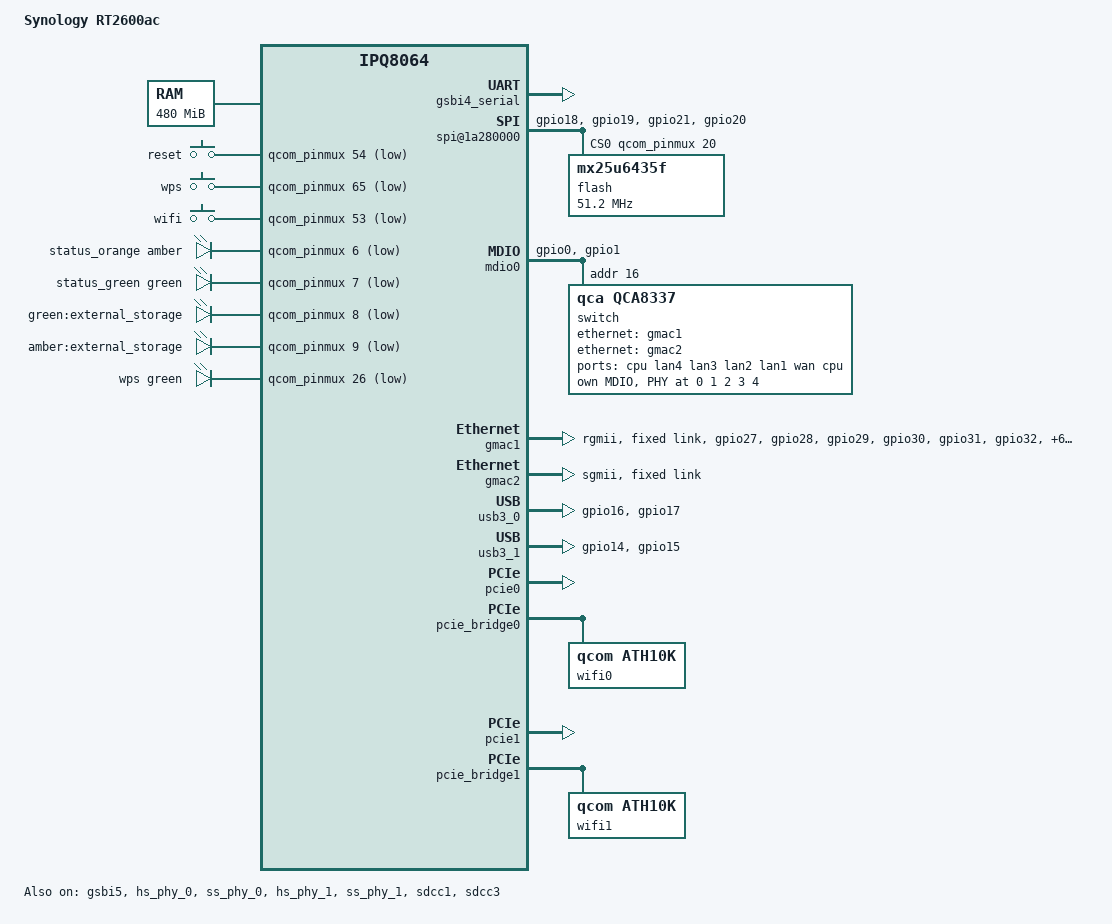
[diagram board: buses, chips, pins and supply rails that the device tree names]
// SPDX-License-Identifier: GPL-2.0-or-later

#include "qcom-ipq8065-smb208.dtsi"

#include <dt-bindings/input/input.h>
#include <dt-bindings/leds/common.h>

/ {
	model = "Synology RT2600ac";
	compatible = "synology,rt2600ac", "qcom,ipq8065", "qcom,ipq8064";

	memory@0 {
		device_type = "memory";
		reg = <0x42000000 0x1e000000>;
	};

	reserved-memory {
		rsvd@5fe00000 {
			reg = <0x5fe00000 0x200000>;
			reusable;
		};
	};

	aliases {
		mdio-gpio0 = &mdio0;
		sdcc1 = &sdcc1;
		sdcc3 = &sdcc3;
		/*
		 * Force mmc host indices so eMMC is mmc0 (mmcblk0*) and the
		 * SD slot is mmc1 (mmcblk1*). Without these the mainline DT
		 * order makes the SD slot probe first, which would land
		 * `root=/dev/mmcblk0p5` on the empty SD slot.
		 */
		mmc0 = &sdcc1;
		mmc1 = &sdcc3;
		serial0 = &gsbi4_serial;
		label-mac-device = &gmac1;

		led-boot = &status_green;
		led-failsafe = &status_orange;
		led-running = &status_green;
		led-upgrade = &status_orange;
	};

	chosen {
		stdout-path = "serial0:115200n8";
		/*
		 * rootdelay=5: the lean (non-initramfs) kernel reaches the
		 * root mount before the regulator framework has finished
		 * bringing up vsdcc_fixed for the eMMC, so mmci-pl18x bails
		 * with "no support for card's volts" on the first attempt.
		 * The delay gives mmc init time to retry once everything is up.
		 */
		bootargs = "rootfstype=squashfs,ext4 rootwait noinitrd root=/dev/mmcblk0p7";
	};

	keys {
		compatible = "gpio-keys";
		pinctrl-0 = <&button_pins>;
		pinctrl-names = "default";

		reset {
			label = "reset";
			gpios = <&qcom_pinmux 54 GPIO_ACTIVE_LOW>;
			linux,code = <KEY_RESTART>;
			debounce-interval = <60>;
			wakeup-source;
		};

		wps {
			label = "wps";
			gpios = <&qcom_pinmux 65 GPIO_ACTIVE_LOW>;
			linux,code = <KEY_WPS_BUTTON>;
			debounce-interval = <60>;
			wakeup-source;
		};

		wifi {
			label = "wifi";
			gpios = <&qcom_pinmux 53 GPIO_ACTIVE_LOW>;
			linux,code = <KEY_RFKILL>;
			debounce-interval = <60>;
			wakeup-source;
		};
	};

	leds {
		compatible = "gpio-leds";
		pinctrl-0 = <&led_pins>;
		pinctrl-names = "default";

		/*
		 * GPIO assignments verified on unit 2 by reading Synology's
		 * device tree. Unit 1's reverse-engineered DTS had these wrong.
		 */
		status_orange: status_orange {
			function = LED_FUNCTION_STATUS;
			color = <LED_COLOR_ID_AMBER>;
			gpios = <&qcom_pinmux 6 GPIO_ACTIVE_LOW>;
		};

		status_green: status_green {
			function = LED_FUNCTION_STATUS;
			color = <LED_COLOR_ID_GREEN>;
			gpios = <&qcom_pinmux 7 GPIO_ACTIVE_LOW>;
		};

		external_storage_green {
			label = "green:external_storage";
			gpios = <&qcom_pinmux 8 GPIO_ACTIVE_LOW>;
		};

		external_storage_orange {
			label = "amber:external_storage";
			gpios = <&qcom_pinmux 9 GPIO_ACTIVE_LOW>;
		};

		wps {
			function = LED_FUNCTION_WPS;
			color = <LED_COLOR_ID_GREEN>;
			gpios = <&qcom_pinmux 26 GPIO_ACTIVE_LOW>;
		};
	};
};

&qcom_pinmux {
	button_pins: button_pins {
		mux {
			pins = "gpio53", "gpio54", "gpio65";
			function = "gpio";
			drive-strength = <2>;
			bias-pull-up;
		};
	};

	led_pins: led_pins {
		mux {
			pins = "gpio6", "gpio7", "gpio8", "gpio9",
			       "gpio24", "gpio25", "gpio26";
			function = "gpio";
			drive-strength = <2>;
			bias-pull-down;
		};
	};

	mdio0_pins: mdio0-state {
		/delete-property/ pins;
		/delete-property/ function;
		/delete-property/ drive-strength;
		/delete-property/ bias-disable;

		mux {
			pins = "gpio0", "gpio1";
			function = "mdio";
			drive-strength = <8>;
			bias-disable;
		};

		clk {
			pins = "gpio1";
			input-disable;
		};
	};

	rgmii2_pins: rgmii2-state {
		/delete-property/ pins;
		/delete-property/ function;
		/delete-property/ drive-strength;
		/delete-property/ bias-disable;

		mux {
			pins = "gpio27", "gpio28", "gpio29",
			       "gpio30", "gpio31", "gpio32",
			       "gpio51", "gpio52", "gpio59",
			       "gpio60", "gpio61", "gpio62";
			function = "rgmii2";
			drive-strength = <8>;
			bias-disable;
		};

		tx {
			pins = "gpio27", "gpio28", "gpio29",
			       "gpio30", "gpio31", "gpio32";
			input-disable;
		};
	};

	sdcc3_pins: sdcc3-state {
		clk {
			pins = "sdc3_clk";
			drive-strength = <8>;
			bias-disable;
		};

		cmd {
			pins = "sdc3_cmd";
			drive-strength = <8>;
			bias-pull-up;
		};

		data {
			pins = "sdc3_data";
			drive-strength = <8>;
			bias-pull-up;
		};
	};

	sdcc3_cd_pins: sdcc3-cd-state {
		mux {
			pins = "gpio63";
			function = "gpio";
			drive-strength = <2>;
			bias-pull-up;
		};
	};

	spi_pins: spi-state {
		/delete-property/ pins;
		/delete-property/ function;
		/delete-property/ drive-strength;
		/delete-property/ bias-disable;

		mux {
			pins = "gpio18", "gpio19", "gpio21";
			function = "gsbi5";
			bias-pull-down;
		};

		data {
			pins = "gpio18", "gpio19";
			drive-strength = <10>;
		};

		cs {
			pins = "gpio20";
			drive-strength = <10>;
			bias-pull-up;
		};

		clk {
			pins = "gpio21";
			drive-strength = <12>;
		};
	};

	usb0_pwr_en_pins: usb0-pwr-en-state {
		mux {
			pins = "gpio16", "gpio17";
			function = "gpio";
			drive-strength = <12>;
		};

		pwr {
			pins = "gpio17";
			bias-pull-down;
			output-high;
		};

		ovc {
			pins = "gpio16";
			bias-pull-up;
		};
	};

	usb1_pwr_en_pins: usb1-pwr-en-state {
		mux {
			pins = "gpio14", "gpio15";
			function = "gpio";
			drive-strength = <12>;
		};

		pwr {
			pins = "gpio14";
			bias-pull-down;
			output-high;
		};

		ovc {
			pins = "gpio15";
			bias-pull-up;
		};
	};
};

&gsbi4_serial {
	status = "okay";
};

&gsbi5 {
	qcom,mode = <GSBI_PROT_SPI>;
	status = "okay";

	spi@1a280000 {
		status = "okay";
		pinctrl-0 = <&spi_pins>;
		pinctrl-names = "default";
		cs-gpios = <&qcom_pinmux 20 GPIO_ACTIVE_HIGH>;

		flash@0 {
			compatible = "mx25u6435f", "jedec,spi-nor";
			reg = <0>;
			spi-max-frequency = <51200000>;

			/*
			 * Synology uses SMEM partitions on SPI NOR; U-Boot
			 * populates the partition layout into shared memory
			 * at boot time, and Linux picks it up here.
			 */
			partitions {
				compatible = "qcom,smem-part";
			};
		};
	};
};

&mdio0 {
	status = "okay";

	pinctrl-0 = <&mdio0_pins>;
	pinctrl-names = "default";

	switch@10 {
		compatible = "qca,qca8337";
		#address-cells = <1>;
		#size-cells = <0>;
		reg = <0x10>;

		ports {
			#address-cells = <1>;
			#size-cells = <0>;

			port@0 {
				reg = <0>;
				label = "cpu";
				ethernet = <&gmac1>;
				phy-mode = "rgmii";
				tx-internal-delay-ps = <1000>;
				rx-internal-delay-ps = <1000>;

				fixed-link {
					speed = <1000>;
					full-duplex;
				};
			};

			/*
			 * Port labels are a BEST GUESS based on typical
			 * IPQ806x+QCA8337 boards. Synology's NSS-driven SRM
			 * stack doesn't expose a standard DSA-style port map.
			 * Will be corrected empirically after first OpenWrt
			 * boot by plugging a cable into each physical jack
			 * and watching link state.
			 */
			port@1 {
				reg = <1>;
				label = "lan4";
				phy-mode = "internal";
				phy-handle = <&phy_port1>;
			};

			port@2 {
				reg = <2>;
				label = "lan3";
				phy-mode = "internal";
				phy-handle = <&phy_port2>;
			};

			port@3 {
				reg = <3>;
				label = "lan2";
				phy-mode = "internal";
				phy-handle = <&phy_port3>;
			};

			port@4 {
				reg = <4>;
				label = "lan1";
				phy-mode = "internal";
				phy-handle = <&phy_port4>;
			};

			port@5 {
				reg = <5>;
				label = "wan";
				phy-mode = "internal";
				phy-handle = <&phy_port5>;
			};

			port@6 {
				reg = <6>;
				label = "cpu";
				ethernet = <&gmac2>;
				phy-mode = "sgmii";
				qca,sgmii-enable-pll;

				fixed-link {
					speed = <1000>;
					full-duplex;
				};
			};
		};

		mdio {
			#address-cells = <1>;
			#size-cells = <0>;

			phy_port1: phy@0 { reg = <0>; };
			phy_port2: phy@1 { reg = <1>; };
			phy_port3: phy@2 { reg = <2>; };
			phy_port4: phy@3 { reg = <3>; };
			phy_port5: phy@4 { reg = <4>; };
		};
	};
};

&gmac1 {
	status = "okay";

	phy-mode = "rgmii";
	qcom,id = <1>;
	qcom,phy_mdio_addr = <4>;
	qcom,poll_required = <0>;
	qcom,rgmii_delay = <1>;
	qcom,phy_mii_type = <0>;
	qcom,emulation = <0>;
	qcom,irq = <255>;
	mdiobus = <&mdio0>;

	pinctrl-0 = <&rgmii2_pins>;
	pinctrl-names = "default";

	fixed-link {
		speed = <1000>;
		full-duplex;
	};
};

&gmac2 {
	status = "okay";

	phy-mode = "sgmii";
	qcom,id = <2>;
	qcom,phy_mdio_addr = <0>;
	qcom,poll_required = <0>;
	qcom,rgmii_delay = <0>;
	qcom,phy_mii_type = <1>;
	qcom,emulation = <0>;
	qcom,irq = <258>;
	mdiobus = <&mdio0>;

	fixed-link {
		speed = <1000>;
		full-duplex;
	};
};

&adm_dma {
	status = "okay";
};

&hs_phy_0 {
	status = "okay";
};

&ss_phy_0 {
	status = "okay";
};

&usb3_0 {
	status = "okay";

	pinctrl-0 = <&usb0_pwr_en_pins>;
	pinctrl-names = "default";
};

&hs_phy_1 {
	status = "okay";
};

&ss_phy_1 {
	status = "okay";
};

&usb3_1 {
	status = "okay";

	pinctrl-0 = <&usb1_pwr_en_pins>;
	pinctrl-names = "default";
};

&sdcc1 {
	/*
	 * eMMC at 0x12400000 has a probe-ordering race with the IPQ806x
	 * regulator framework on the lean kernel: mmci-pl18x reaches
	 * voltage init before vsdcc_fixed is registered, so it bails with
	 * "no support for card's volts" and the controller wedges in a
	 * "Card stuck being busy" retry loop that blocks USB enumeration.
	 * Since this device boots from USB (root=/dev/mmcblk0p7), we don't
	 * need the eMMC; disable the node to skip the broken probe path.
	 * If a future kernel/regulator fix makes this unnecessary, set
	 * status = "okay" again.
	 */
	status = "okay";
};

/*
 * SD card slot on the back of the router. The controller is already
 * defined as `sdcc3: mmc@12180000` in mainline qcom-ipq8064.dtsi with
 * status = "disabled"; we reference and override the parts that are
 * board-specific.
 *
 * Verified on running Synology SRM 1.2.5 on unit 2:
 *   cd-gpios = pin 63, ACTIVE_LOW, cd-inverted
 *   bus-width = 4 (override of mainline default 8)
 *   max-frequency = 192 MHz (UHS-I SDR104, matches mainline default)
 */
&sdcc3 {
	status = "okay";
	bus-width = <4>;

	cd-gpios = <&qcom_pinmux 63 GPIO_ACTIVE_LOW>;
	cd-inverted;

	pinctrl-0 = <&sdcc3_pins &sdcc3_cd_pins>;
	pinctrl-names = "default";
};

&pcie0 {
	status = "okay";
};

&pcie_bridge0 {
	wifi0: wifi@0,0 {
		compatible = "qcom,ath10k";
		reg = <0x00010000 0 0 0 0>;
		/*
		 * No nvmem-cells for MAC/precal here — Synology's ART
		 * partition uses a non-standard 30976-byte layout that
		 * upstream ath10k doesn't parse directly (expects 12064).
		 * We rely on OpenWrt's ath10k-caldata hotplug handler to
		 * extract and massage the data at runtime.
		 */
	};
};

&pcie1 {
	status = "okay";

	max-link-speed = <1>;
};

&pcie_bridge1 {
	wifi1: wifi@0,0 {
		compatible = "qcom,ath10k";
		reg = <0x00010000 0 0 0 0>;
	};
};
